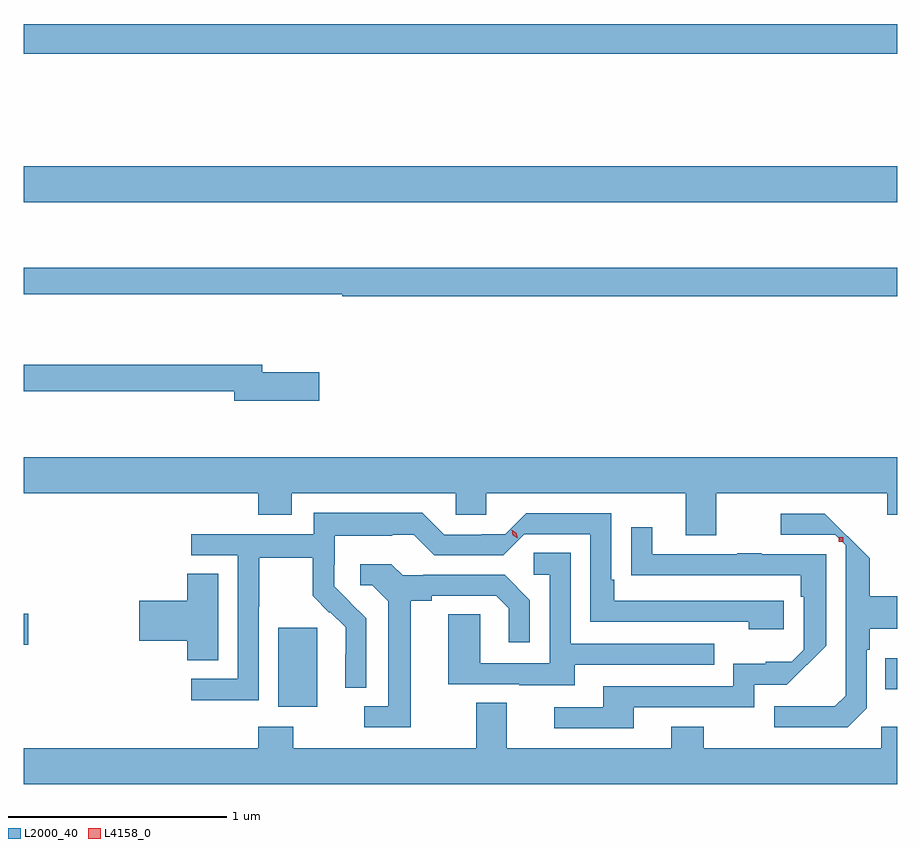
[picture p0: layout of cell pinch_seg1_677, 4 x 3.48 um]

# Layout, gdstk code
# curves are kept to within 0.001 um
import gdstk
lib = gdstk.Library(unit=1e-6, precision=1e-09)
def R(c, l, rs):  # rectangles x0, y0, x1, y1
    for r in rs: c.add(gdstk.rectangle(r[:2], r[2:], *l))
def P(c, l, *ps):  # polygons
    for p in ps: c.add(gdstk.Polygon(p, *l))
L2000_40 = (2000, 40)
L4158_0 = (4158, 0)

pinch_seg1_677 = lib.new_cell('pinch_seg1_677')
R(pinch_seg1_677, L2000_40, [(658.829,553.418,659.008,553.779), (661.609,553.499,661.664,553.639), (657.664,553.702,657.685,553.844), (657.664,555.728,661.664,555.892), (657.664,556.408,661.664,556.544)])
P(pinch_seg1_677, L2000_40, [(661.664,555.427),(657.664,555.427),(657.664,555.306),(659.122,555.306),(659.122,555.298),(661.664,555.298)],
  [(659.017,554.949),(658.756,554.949),(658.756,554.983),(657.664,554.983),(657.664,554.862),(658.628,554.862),(658.628,554.819),(659.017,554.819)],
  [(657.664,554.396),(658.739,554.396),(658.739,554.297),(658.891,554.297),(658.891,554.396),(659.643,554.396),(659.643,554.298),(659.782,554.298),(659.782,554.396),(660.695,554.396),(660.695,554.202),(660.835,554.202),(660.835,554.396),(661.619,554.396),(661.619,554.297),(661.664,554.297),(661.664,554.56),(657.664,554.56)],
  [(658.74,553.876),(658.743,553.876),(658.743,554.1),(658.987,554.1),(658.987,553.925),(659.064,553.848),(659.067,553.851),(659.138,553.781),(659.138,553.658),(659.136,553.658),(659.136,553.504),(659.232,553.504),(659.232,553.822),(659.086,553.97),(659.086,554.067),(659.088,554.067),(659.088,554.201),(659.351,554.201),(659.351,554.205),(659.451,554.205),(659.544,554.112),(659.859,554.112),(659.955,554.208),(660.258,554.208),(660.258,553.806),(660.983,553.806),(660.983,553.772),(661.144,553.772),(661.144,553.902),(660.367,553.902),(660.367,553.999),(660.354,553.999),(660.354,554.304),(659.966,554.304),(659.87,554.208),(659.762,554.208),(659.762,554.205),(659.589,554.205),(659.489,554.305),(658.992,554.305),(658.992,554.208),(658.431,554.208),(658.431,554.112),(658.644,554.112),(658.644,553.545),(658.431,553.545),(658.431,553.447),(658.74,553.447)],
  [(661.524,553.41),(661.524,553.679),(661.537,553.679),(661.537,553.775),(661.664,553.775),(661.664,553.923),(661.537,553.923),(661.537,554.098),(661.333,554.301),(661.131,554.301),(661.131,554.206),(661.38,554.206),(661.429,554.157),(661.427,553.469),(661.377,553.419),(661.101,553.419),(661.101,553.323),(661.437,553.323)],
  [(660.457,553.416),(661.008,553.416),(661.008,553.518),(661.159,553.518),(661.338,553.697),(661.338,554.115),(661.043,554.115),(661.043,554.12),(660.931,554.12),(660.931,554.115),(660.541,554.115),(660.541,554.239),(660.445,554.239),(660.445,554.02),(661.222,554.019),(661.222,553.922),(661.236,553.922),(661.236,553.679),(661.181,553.624),(661.062,553.624),(661.062,553.615),(660.912,553.615),(660.912,553.512),(660.317,553.512),(660.317,553.416),(660.093,553.416),(660.093,553.32),(660.457,553.32)],
  [(660.187,553.611),(660.827,553.611),(660.827,553.707),(660.168,553.707),(660.168,554.123),(660,554.123),(660,554.022),(660.072,554.022),(660.072,553.617),(659.754,553.617),(659.754,553.841),(659.609,553.841),(659.609,553.521),(659.933,553.521),(659.933,553.517),(660.187,553.517)],
  [(659.437,553.904),(659.533,553.904),(659.533,553.926),(659.828,553.926),(659.885,553.869),(659.885,553.713),(659.982,553.713),(659.982,553.906),(659.866,554.022),(659.494,554.022),(659.494,554.019),(659.4,554.019),(659.348,554.071),(659.205,554.071),(659.205,553.974),(659.26,553.974),(659.333,553.901),(659.333,553.419),(659.223,553.419),(659.223,553.323),(659.437,553.323)],
  [(658.555,554.027),(658.412,554.027),(658.412,553.904),(658.194,553.904),(658.194,553.721),(658.412,553.721),(658.412,553.63),(658.555,553.63)],
  [(661.664,553.327),(661.59,553.327),(661.59,553.228),(660.777,553.228),(660.777,553.327),(660.629,553.327),(660.629,553.228),(659.875,553.228),(659.875,553.436),(659.735,553.436),(659.735,553.228),(658.899,553.228),(658.899,553.327),(658.739,553.327),(658.739,553.228),(657.664,553.228),(657.664,553.064),(661.664,553.064)])
R(pinch_seg1_677, L4158_0, [(661.397,554.174,661.417,554.194)])
P(pinch_seg1_677, L4158_0, [(659.926,554.19),(659.904,554.203),(659.898,554.228),(659.898,554.228),(659.899,554.228),(659.92,554.215),(659.926,554.19),(659.926,554.19)])

lib.write_gds('pinch_seg1_677.gds')
